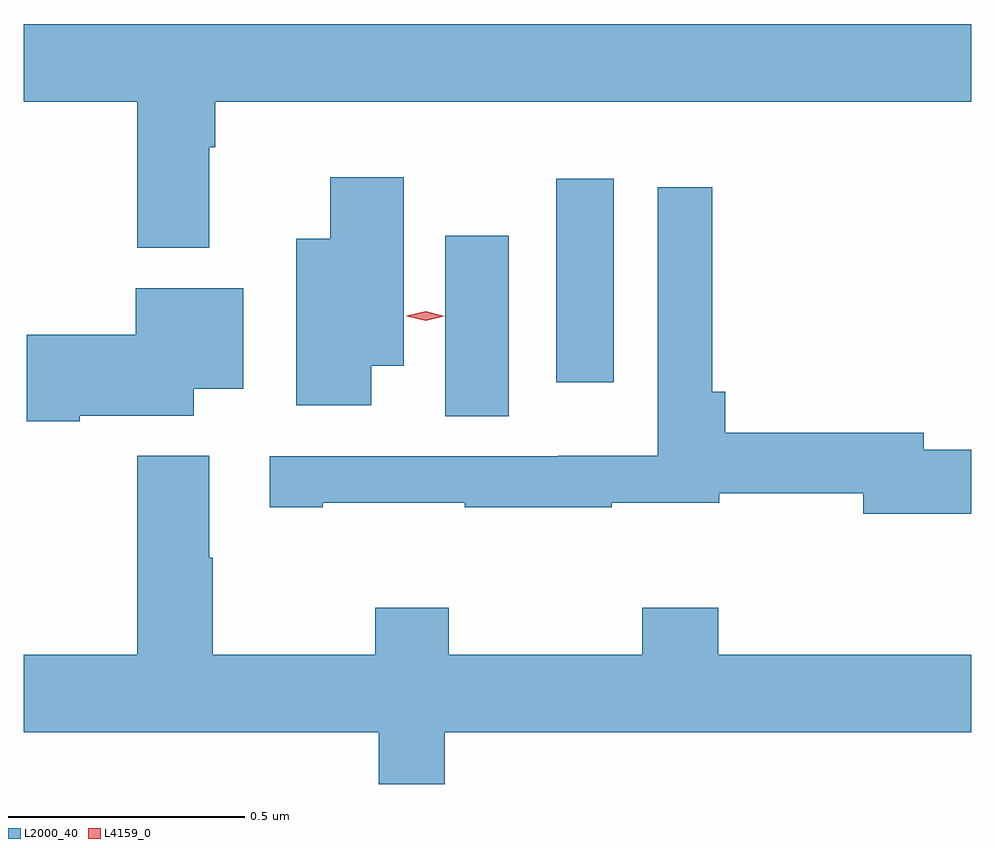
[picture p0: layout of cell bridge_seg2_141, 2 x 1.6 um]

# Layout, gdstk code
import gdstk
lib = gdstk.Library(unit=1e-6, precision=1e-09)
def R(c, l, rs):  # rectangles x0, y0, x1, y1
    for r in rs: c.add(gdstk.rectangle(r[:2], r[2:], *l))
def P(c, l, *ps):  # polygons
    for p in ps: c.add(gdstk.Polygon(p, *l))
L2000_40 = (2000, 40)
L4159_0 = (4159, 0)

bridge_seg2_141 = lib.new_cell('bridge_seg2_141')
R(bridge_seg2_141, L2000_40, [(614.234,600.352,614.368,600.733), (614.468,600.423,614.59,600.853)])
P(bridge_seg2_141, L2000_40, [(613.735,600.92),(613.748,600.92),(613.748,601.016),(615.344,601.016),(615.344,601.18),(613.344,601.18),(613.344,601.016),(613.583,601.016),(613.583,600.707),(613.735,600.707)],
  [(614.077,600.458),(614.146,600.458),(614.146,600.856),(613.991,600.856),(613.991,600.727),(613.919,600.727),(613.919,600.375),(614.077,600.375)],
  [(615.344,600.281),(615.244,600.281),(615.244,600.317),(614.825,600.317),(614.825,600.403),(614.798,600.403),(614.798,600.835),(614.682,600.835),(614.682,600.268),(614.472,600.268),(614.472,600.267),(613.863,600.267),(613.863,600.159),(613.975,600.159),(613.975,600.169),(614.275,600.169),(614.275,600.159),(614.585,600.159),(614.585,600.169),(614.812,600.169),(614.812,600.189),(615.116,600.189),(615.116,600.146),(615.344,600.146)],
  [(613.462,600.353),(613.702,600.353),(613.702,600.41),(613.807,600.41),(613.807,600.622),(613.58,600.622),(613.58,600.524),(613.35,600.524),(613.35,600.341),(613.462,600.341)],
  [(614.233,599.684),(615.344,599.684),(615.344,599.848),(614.81,599.848),(614.81,599.947),(614.65,599.947),(614.65,599.848),(614.241,599.848),(614.241,599.947),(614.086,599.947),(614.086,599.848),(613.743,599.848),(613.743,600.053),(613.735,600.053),(613.735,600.268),(613.583,600.268),(613.583,599.848),(613.344,599.848),(613.344,599.684),(614.093,599.684),(614.093,599.575),(614.233,599.575)])
P(bridge_seg2_141, L4159_0, [(614.192,600.553),(614.152,600.563),(614.152,600.563),(614.152,600.564),(614.192,600.573),(614.232,600.563),(614.232,600.563),(614.232,600.563)])

lib.write_gds('bridge_seg2_141.gds')
